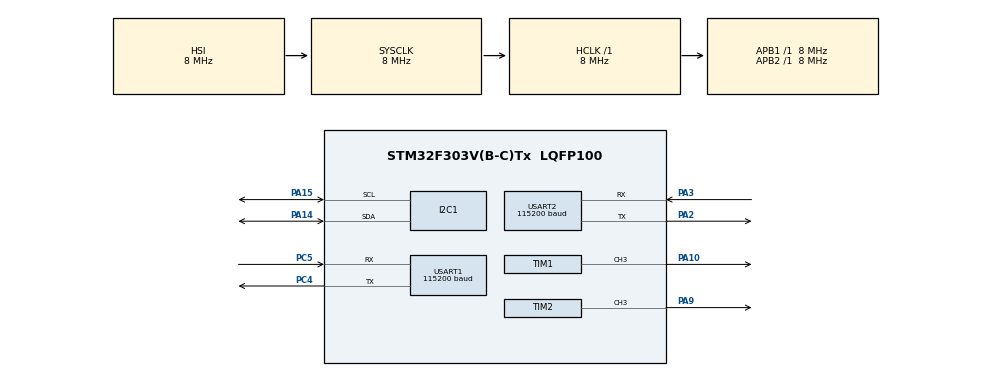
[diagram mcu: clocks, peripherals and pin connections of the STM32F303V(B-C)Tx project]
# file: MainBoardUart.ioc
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I2C1.Timing=0x00201D2B
Mcu.Family=STM32F3
Mcu.Name=STM32F303V(B-C)Tx
Mcu.Package=LQFP100
NVIC.PriorityGroup=NVIC_PRIORITYGROUP_4
PA10.Signal=S_TIM1_CH3
PA14.GPIO_Pu=GPIO_NOPULL
PA14.Mode=I2C
PA14.Signal=I2C1_SDA
PA15.Mode=I2C
PA15.Signal=I2C1_SCL
PA2.Mode=Asynchronous
PA2.Signal=USART2_TX
PA3.Mode=Asynchronous
PA3.Signal=USART2_RX
PA9.Signal=S_TIM2_CH3
PC4.Mode=Asynchronous
PC4.Signal=USART1_TX
PC5.Mode=Asynchronous
PC5.Signal=USART1_RX
ProjectManager.HeapSize=0x200
ProjectManager.StackSize=0x400
ProjectManager.TargetToolchain=STM32CubeIDE
RCC.AHBFreq_Value=8000000
RCC.APB1Freq_Value=8000000
RCC.APB1TimCLKDivider=1
RCC.APB1TimFreq_Value=8000000
RCC.APB2Freq_Value=8000000
RCC.APB2TimFreq_Value=8000000
RCC.CortexFreq_Value=8000000
RCC.HCLKFreq_Value=8000000
RCC.HSE_VALUE=8000000
RCC.HSI_VALUE=8000000
RCC.LSE_VALUE=32768
RCC.SYSCLKFreq_VALUE=8000000
RCC.USBFreq_Value=8000000
SH.S_TIM1_CH3.0=TIM1_CH3,PWM Generation3 CH3
SH.S_TIM2_CH3.0=TIM2_CH3,PWM Generation3 CH3
TIM1.Channel-PWM\ Generation3\ CH3=TIM_CHANNEL_3
TIM2.Channel-PWM\ Generation3\ CH3=TIM_CHANNEL_3
USART1.BaudRate=115200
USART1.VirtualMode-Asynchronous=VM_ASYNC
USART2.BaudRate=115200
USART2.VirtualMode-Asynchronous=VM_ASYNC
board=custom

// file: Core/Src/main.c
/* USER CODE BEGIN Header */
/**
  ******************************************************************************
  * @file           : main.c
  * @brief          : Main program body
  ******************************************************************************
  * @attention
  *
  * Copyright (c) 2025 STMicroelectronics.
  * All rights reserved.
  *
  * This software is licensed under terms that can be found in the LICENSE file
  * in the root directory of this software component.
  * If no LICENSE file comes with this software, it is provided AS-IS.
  *
  ******************************************************************************
  */
/* USER CODE END Header */
#include "main.h"
#include <stdio.h>

/* USER CODE BEGIN PD */
#define RX_TIMEOUT_MS 10
#define BYTES_PER_LINE 16
/* USER CODE END PD */

I2C_HandleTypeDef hi2c1;
TIM_HandleTypeDef htim1;
TIM_HandleTypeDef htim2;
UART_HandleTypeDef huart1;
UART_HandleTypeDef huart2;

/* USER CODE BEGIN PV */
uint8_t rxByte;
char txBuffer[100];
uint32_t byteCount = 0;
/* USER CODE END PV */

void SystemClock_Config(void);
static void MX_GPIO_Init(void);
static void MX_I2C1_Init(void);
static void MX_USART1_UART_Init(void);
static void MX_TIM1_Init(void);
static void MX_TIM2_Init(void);
static void MX_USART2_UART_Init(void);

int main(void)
{

  /* MCU Configuration--------------------------------------------------------*/

  /* Reset of all peripherals, Initializes the Flash interface and the Systick. */
  HAL_Init();

  /* Configure the system clock */
  SystemClock_Config();

  /* Initialize all configured peripherals */
  MX_GPIO_Init();
  MX_I2C1_Init();
  MX_USART1_UART_Init();
  MX_TIM1_Init();
  MX_TIM2_Init();
  MX_USART2_UART_Init();
  /* USER CODE BEGIN 2 */

  // Send startup message on USART1
  sprintf(txBuffer, "UART2 Receiver Started\r\n");
  HAL_UART_Transmit(&huart1, (uint8_t*)txBuffer, strlen(txBuffer), HAL_MAX_DELAY);

  /* USER CODE END 2 */

  /* Infinite loop */
  while (1)
  {

    /* USER CODE BEGIN 3 */
    // Poll USART2 for incoming data
    if (HAL_UART_Receive(&huart2, &rxByte, 1, RX_TIMEOUT_MS) == HAL_OK)
    {
      // Format byte as hex
      sprintf(txBuffer, "%02X ", rxByte);
      HAL_UART_Transmit(&huart1, (uint8_t*)txBuffer, strlen(txBuffer), HAL_MAX_DELAY);

      // Increment byte count and add newline every 16 bytes
      byteCount++;
      if (byteCount % BYTES_PER_LINE == 0)
      {
        sprintf(txBuffer, "\r\n");
        HAL_UART_Transmit(&huart1, (uint8_t*)txBuffer, strlen(txBuffer), HAL_MAX_DELAY);
      }
    }
    else
    {
      // If no data, add newline if bytes were received
      if (byteCount > 0 && byteCount % BYTES_PER_LINE != 0)
      {
        sprintf(txBuffer, "\r\n");
        HAL_UART_Transmit(&huart1, (uint8_t*)txBuffer, strlen(txBuffer), HAL_MAX_DELAY);
        byteCount = 0;
      }
    }
  }
  /* USER CODE END 3 */
}

void SystemClock_Config(void)
{
  RCC_OscInitTypeDef RCC_OscInitStruct = {0};
  RCC_ClkInitTypeDef RCC_ClkInitStruct = {0};
  RCC_PeriphCLKInitTypeDef PeriphClkInit = {0};

  /** Initializes the RCC Oscillators according to the specified parameters
  * in the RCC_OscInitTypeDef structure.
  */
  RCC_OscInitStruct.OscillatorType = RCC_OSCILLATORTYPE_HSI;
  RCC_OscInitStruct.HSIState = RCC_HSI_ON;
  RCC_OscInitStruct.HSICalibrationValue = RCC_HSICALIBRATION_DEFAULT;
  RCC_OscInitStruct.PLL.PLLState = RCC_PLL_NONE;
  if (HAL_RCC_OscConfig(&RCC_OscInitStruct) != HAL_OK)
  {
    Error_Handler();
  }

  /** Initializes the CPU, AHB and APB buses clocks
  */
  RCC_ClkInitStruct.ClockType = RCC_CLOCKTYPE_HCLK|RCC_CLOCKTYPE_SYSCLK
                              |RCC_CLOCKTYPE_PCLK1|RCC_CLOCKTYPE_PCLK2;
  RCC_ClkInitStruct.SYSCLKSource = RCC_SYSCLKSOURCE_HSI;
  RCC_ClkInitStruct.AHBCLKDivider = RCC_SYSCLK_DIV1;
  RCC_ClkInitStruct.APB1CLKDivider = RCC_HCLK_DIV1;
  RCC_ClkInitStruct.APB2CLKDivider = RCC_HCLK_DIV1;

  if (HAL_RCC_ClockConfig(&RCC_ClkInitStruct, FLASH_LATENCY_0) != HAL_OK)
  {
    Error_Handler();
  }
  PeriphClkInit.PeriphClockSelection = RCC_PERIPHCLK_USART1|RCC_PERIPHCLK_USART2
                              |RCC_PERIPHCLK_I2C1|RCC_PERIPHCLK_TIM1;
  PeriphClkInit.Usart1ClockSelection = RCC_USART1CLKSOURCE_PCLK2;
  PeriphClkInit.Usart2ClockSelection = RCC_USART2CLKSOURCE_PCLK1;
  PeriphClkInit.I2c1ClockSelection = RCC_I2C1CLKSOURCE_HSI;
  PeriphClkInit.Tim1ClockSelection = RCC_TIM1CLK_HCLK;
  if (HAL_RCCEx_PeriphCLKConfig(&PeriphClkInit) != HAL_OK)
  {
    Error_Handler();
  }
}

static void MX_I2C1_Init(void)
{

  hi2c1.Instance = I2C1;
  hi2c1.Init.Timing = 0x00201D2B;
  hi2c1.Init.OwnAddress1 = 0;
  hi2c1.Init.AddressingMode = I2C_ADDRESSINGMODE_7BIT;
  hi2c1.Init.DualAddressMode = I2C_DUALADDRESS_DISABLE;
  hi2c1.Init.OwnAddress2 = 0;
  hi2c1.Init.OwnAddress2Masks = I2C_OA2_NOMASK;
  hi2c1.Init.GeneralCallMode = I2C_GENERALCALL_DISABLE;
  hi2c1.Init.NoStretchMode = I2C_NOSTRETCH_DISABLE;
  if (HAL_I2C_Init(&hi2c1) != HAL_OK)
  {
    Error_Handler();
  }

  /** Configure Analogue filter
  */
  if (HAL_I2CEx_ConfigAnalogFilter(&hi2c1, I2C_ANALOGFILTER_ENABLE) != HAL_OK)
  {
    Error_Handler();
  }

  /** Configure Digital filter
  */
  if (HAL_I2CEx_ConfigDigitalFilter(&hi2c1, 0) != HAL_OK)
  {
    Error_Handler();
  }
}

static void MX_TIM1_Init(void)
{

  TIM_MasterConfigTypeDef sMasterConfig = {0};
  TIM_OC_InitTypeDef sConfigOC = {0};
  TIM_BreakDeadTimeConfigTypeDef sBreakDeadTimeConfig = {0};

  htim1.Instance = TIM1;
  htim1.Init.Prescaler = 0;
  htim1.Init.CounterMode = TIM_COUNTERMODE_UP;
  htim1.Init.Period = 65535;
  htim1.Init.ClockDivision = TIM_CLOCKDIVISION_DIV1;
  htim1.Init.RepetitionCounter = 0;
  htim1.Init.AutoReloadPreload = TIM_AUTORELOAD_PRELOAD_DISABLE;
  if (HAL_TIM_PWM_Init(&htim1) != HAL_OK)
  {
    Error_Handler();
  }
  sMasterConfig.MasterOutputTrigger = TIM_TRGO_RESET;
  sMasterConfig.MasterOutputTrigger2 = TIM_TRGO2_RESET;
  sMasterConfig.MasterSlaveMode = TIM_MASTERSLAVEMODE_DISABLE;
  if (HAL_TIMEx_MasterConfigSynchronization(&htim1, &sMasterConfig) != HAL_OK)
  {
    Error_Handler();
  }
  sConfigOC.OCMode = TIM_OCMODE_PWM1;
  sConfigOC.Pulse = 0;
  sConfigOC.OCPolarity = TIM_OCPOLARITY_HIGH;
  sConfigOC.OCNPolarity = TIM_OCNPOLARITY_HIGH;
  sConfigOC.OCFastMode = TIM_OCFAST_DISABLE;
  sConfigOC.OCIdleState = TIM_OCIDLESTATE_RESET;
  sConfigOC.OCNIdleState = TIM_OCNIDLESTATE_RESET;
  if (HAL_TIM_PWM_ConfigChannel(&htim1, &sConfigOC, TIM_CHANNEL_3) != HAL_OK)
  {
    Error_Handler();
  }
  sBreakDeadTimeConfig.OffStateRunMode = TIM_OSSR_DISABLE;
  sBreakDeadTimeConfig.OffStateIDLEMode = TIM_OSSI_DISABLE;
  sBreakDeadTimeConfig.LockLevel = TIM_LOCKLEVEL_OFF;
  sBreakDeadTimeConfig.DeadTime = 0;
  sBreakDeadTimeConfig.BreakState = TIM_BREAK_DISABLE;
  sBreakDeadTimeConfig.BreakPolarity = TIM_BREAKPOLARITY_HIGH;
  sBreakDeadTimeConfig.BreakFilter = 0;
  sBreakDeadTimeConfig.Break2State = TIM_BREAK2_DISABLE;
  sBreakDeadTimeConfig.Break2Polarity = TIM_BREAK2POLARITY_HIGH;
  sBreakDeadTimeConfig.Break2Filter = 0;
  sBreakDeadTimeConfig.AutomaticOutput = TIM_AUTOMATICOUTPUT_DISABLE;
  if (HAL_TIMEx_ConfigBreakDeadTime(&htim1, &sBreakDeadTimeConfig) != HAL_OK)
  {
    Error_Handler();
  }
  HAL_TIM_MspPostInit(&htim1);
}

static void MX_TIM2_Init(void)
{

  TIM_MasterConfigTypeDef sMasterConfig = {0};
  TIM_OC_InitTypeDef sConfigOC = {0};

  htim2.Instance = TIM2;
  htim2.Init.Prescaler = 0;
  htim2.Init.CounterMode = TIM_COUNTERMODE_UP;
  htim2.Init.Period = 4294967295;
  htim2.Init.ClockDivision = TIM_CLOCKDIVISION_DIV1;
  htim2.Init.AutoReloadPreload = TIM_AUTORELOAD_PRELOAD_DISABLE;
  if (HAL_TIM_PWM_Init(&htim2) != HAL_OK)
  {
    Error_Handler();
  }
  sMasterConfig.MasterOutputTrigger = TIM_TRGO_RESET;
  sMasterConfig.MasterSlaveMode = TIM_MASTERSLAVEMODE_DISABLE;
  if (HAL_TIMEx_MasterConfigSynchronization(&htim2, &sMasterConfig) != HAL_OK)
  {
    Error_Handler();
  }
  sConfigOC.OCMode = TIM_OCMODE_PWM1;
  sConfigOC.Pulse = 0;
  sConfigOC.OCPolarity = TIM_OCPOLARITY_HIGH;
  sConfigOC.OCFastMode = TIM_OCFAST_DISABLE;
  if (HAL_TIM_PWM_ConfigChannel(&htim2, &sConfigOC, TIM_CHANNEL_3) != HAL_OK)
  {
    Error_Handler();
  }
  HAL_TIM_MspPostInit(&htim2);
}

static void MX_USART1_UART_Init(void)
{

  huart1.Instance = USART1;
  huart1.Init.BaudRate = 115200;
  huart1.Init.WordLength = UART_WORDLENGTH_8B;
  huart1.Init.StopBits = UART_STOPBITS_1;
  huart1.Init.Parity = UART_PARITY_NONE;
  huart1.Init.Mode = UART_MODE_TX_RX;
  huart1.Init.HwFlowCtl = UART_HWCONTROL_NONE;
  huart1.Init.OverSampling = UART_OVERSAMPLING_16;
  huart1.Init.OneBitSampling = UART_ONE_BIT_SAMPLE_DISABLE;
  huart1.AdvancedInit.AdvFeatureInit = UART_ADVFEATURE_NO_INIT;
  if (HAL_UART_Init(&huart1) != HAL_OK)
  {
    Error_Handler();
  }
}

static void MX_USART2_UART_Init(void)
{

  huart2.Instance = USART2;
  huart2.Init.BaudRate = 115200;
  huart2.Init.WordLength = UART_WORDLENGTH_8B;
  huart2.Init.StopBits = UART_STOPBITS_1;
  huart2.Init.Parity = UART_PARITY_NONE;
  huart2.Init.Mode = UART_MODE_TX_RX;
  huart2.Init.HwFlowCtl = UART_HWCONTROL_NONE;
  huart2.Init.OverSampling = UART_OVERSAMPLING_16;
  huart2.Init.OneBitSampling = UART_ONE_BIT_SAMPLE_DISABLE;
  huart2.AdvancedInit.AdvFeatureInit = UART_ADVFEATURE_NO_INIT;
  if (HAL_UART_Init(&huart2) != HAL_OK)
  {
    Error_Handler();
  }
}

static void MX_GPIO_Init(void)
{
  GPIO_InitTypeDef GPIO_InitStruct = {0};

  /* GPIO Ports Clock Enable */
  __HAL_RCC_GPIOA_CLK_ENABLE();
  __HAL_RCC_GPIOC_CLK_ENABLE();

  /* Configure PC4 (TX) and PC5 (RX) for USART1 */
  GPIO_InitStruct.Pin = GPIO_PIN_4 | GPIO_PIN_5;
  GPIO_InitStruct.Mode = GPIO_MODE_AF_PP;
  GPIO_InitStruct.Pull = GPIO_NOPULL;
  GPIO_InitStruct.Speed = GPIO_SPEED_FREQ_HIGH;
  GPIO_InitStruct.Alternate = GPIO_AF7_USART1; // USART1 TX/RX for PC4/PC5
  HAL_GPIO_Init(GPIOC, &GPIO_InitStruct);

  /* Configure PA2 (TX) and PA3 (RX) for USART2 */
  GPIO_InitStruct.Pin = GPIO_PIN_2 | GPIO_PIN_3;
  GPIO_InitStruct.Mode = GPIO_MODE_AF_PP;
  GPIO_InitStruct.Pull = GPIO_NOPULL;
  GPIO_InitStruct.Speed = GPIO_SPEED_FREQ_HIGH;
  GPIO_InitStruct.Alternate = GPIO_AF7_USART2; // USART2 TX/RX for PA2/PA3
  HAL_GPIO_Init(GPIOA, &GPIO_InitStruct);

}

void Error_Handler(void)
{
  __disable_irq();
  while (1)
  {
  }
}
